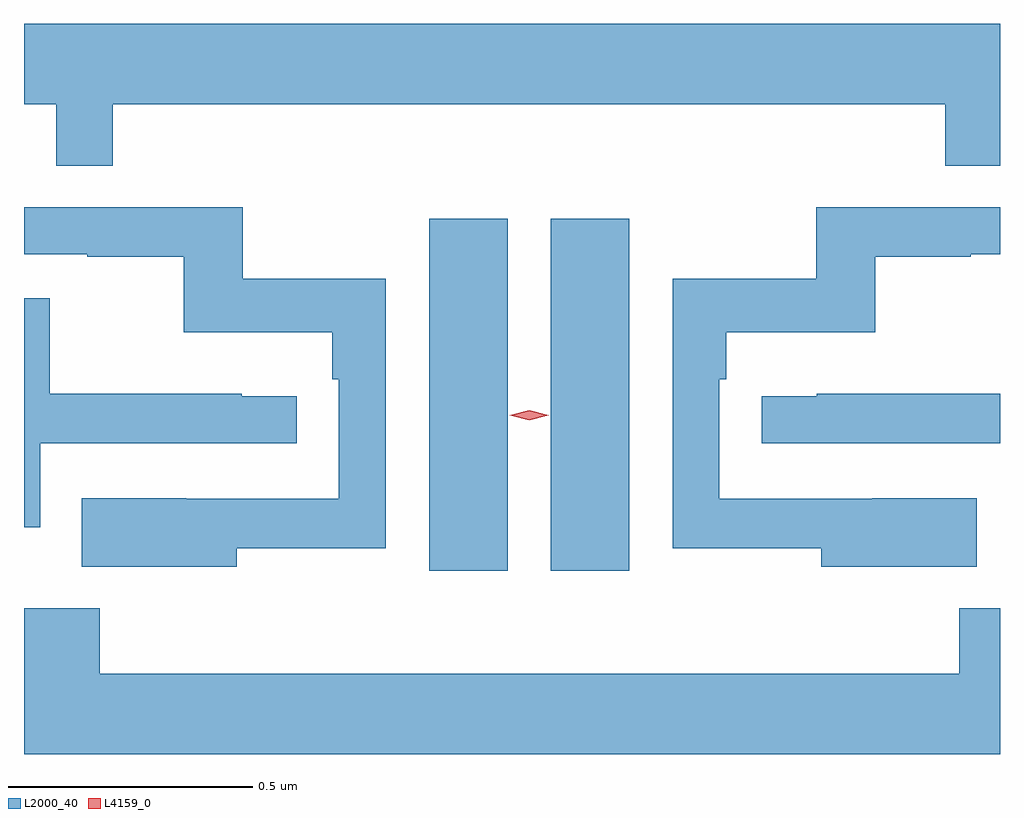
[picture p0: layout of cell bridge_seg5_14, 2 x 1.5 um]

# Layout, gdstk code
import gdstk
lib = gdstk.Library(unit=1e-6, precision=1e-09)
def R(c, l, rs):  # rectangles x0, y0, x1, y1
    for r in rs: c.add(gdstk.rectangle(r[:2], r[2:], *l))
def P(c, l, *ps):  # polygons
    for p in ps: c.add(gdstk.Polygon(p, *l))
L2000_40 = (2000, 40)
L4159_0 = (4159, 0)

bridge_seg5_14 = lib.new_cell('bridge_seg5_14')
R(bridge_seg5_14, L2000_40, [(974.297,907.752,974.458,908.473), (974.546,907.752,974.707,908.473)])
P(bridge_seg5_14, L2000_40, [(973.649,908.708),(975.355,908.708),(975.355,908.581),(975.467,908.581),(975.467,908.872),(973.467,908.872),(973.467,908.708),(973.533,908.708),(973.533,908.581),(973.649,908.581)],
  [(973.903,907.798),(974.208,907.798),(974.208,908.35),(973.915,908.35),(973.915,908.496),(973.467,908.496),(973.467,908.4),(973.597,908.4),(973.597,908.395),(973.794,908.395),(973.794,908.24),(974.099,908.24),(974.099,908.144),(974.112,908.144),(974.112,907.899),(973.799,907.899),(973.799,907.9),(973.585,907.9),(973.585,907.76),(973.903,907.76)],
  [(975.419,907.9),(975.205,907.9),(975.205,907.899),(974.892,907.899),(974.892,908.144),(974.906,908.144),(974.906,908.24),(975.211,908.24),(975.211,908.395),(975.407,908.395),(975.407,908.4),(975.467,908.4),(975.467,908.496),(975.09,908.496),(975.09,908.35),(974.796,908.35),(974.796,907.798),(975.101,907.798),(975.101,907.76),(975.419,907.76)],
  [(973.5,908.013),(974.026,908.013),(974.026,908.109),(973.913,908.109),(973.913,908.114),(973.52,908.114),(973.52,908.31),(973.467,908.31),(973.467,907.841),(973.5,907.841)],
  [(975.467,908.114),(975.091,908.114),(975.091,908.109),(974.979,908.109),(974.979,908.013),(975.467,908.013)],
  [(975.467,907.675),(975.383,907.675),(975.383,907.54),(973.622,907.54),(973.622,907.675),(973.467,907.675),(973.467,907.376),(975.467,907.376)])
P(bridge_seg5_14, L4159_0, [(974.502,908.06),(974.462,908.07),(974.462,908.07),(974.462,908.07),(974.502,908.08),(974.542,908.07),(974.542,908.07),(974.542,908.07)])

lib.write_gds('bridge_seg5_14.gds')
